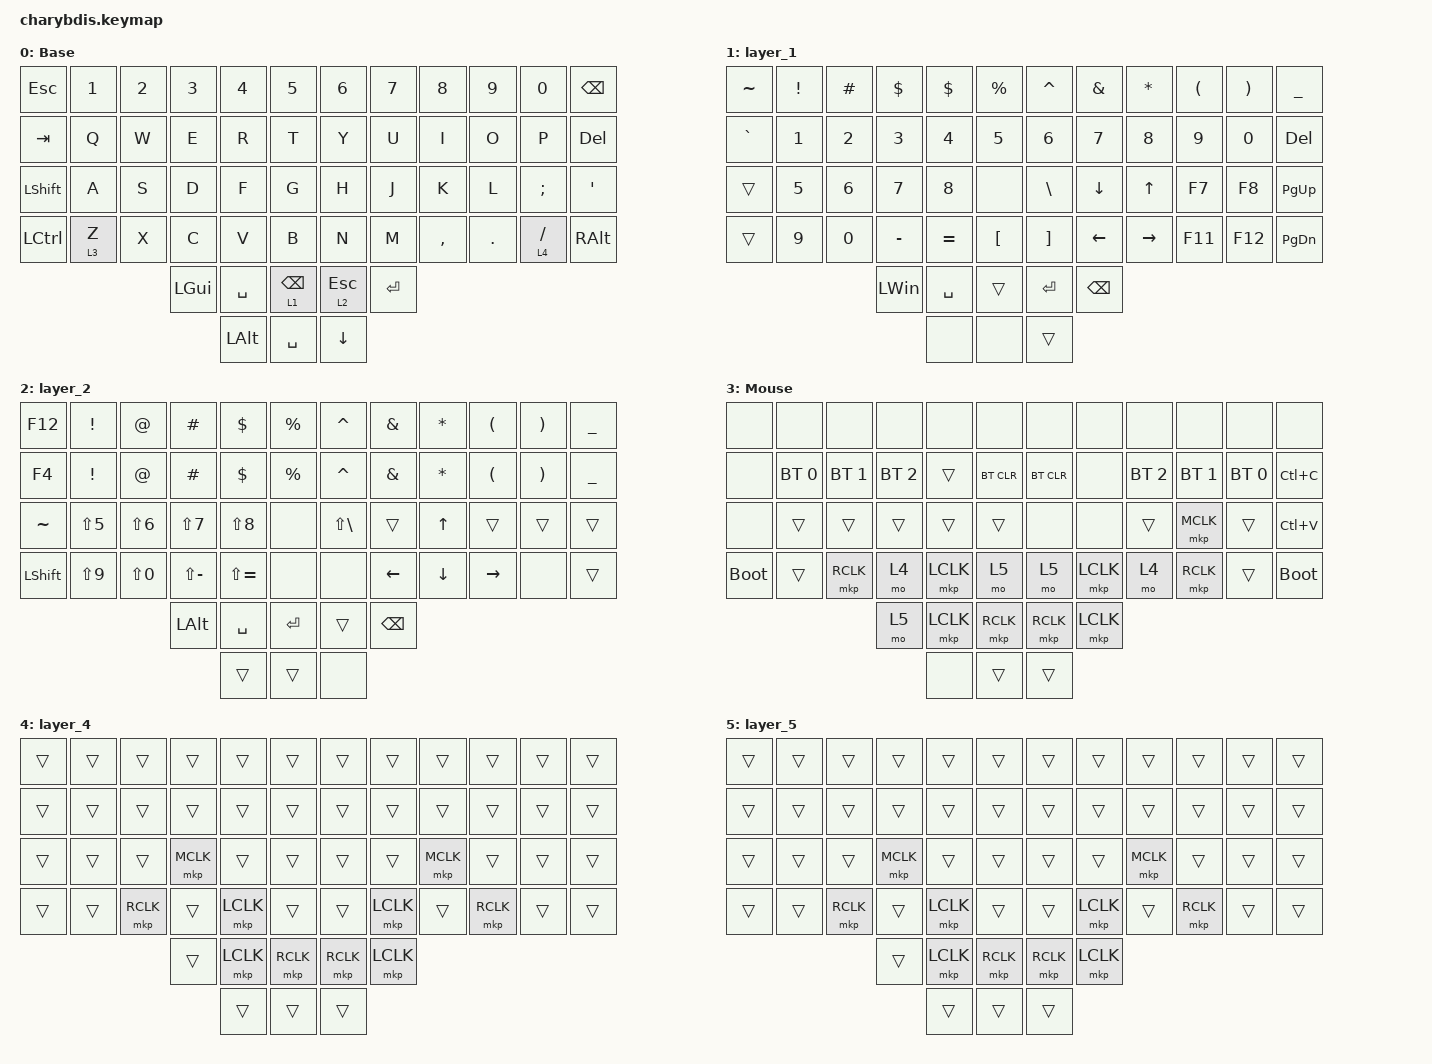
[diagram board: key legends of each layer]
#include <behaviors.dtsi>
#include <dt-bindings/zmk/bt.h>
#include <dt-bindings/zmk/keys.h>
#include <dt-bindings/zmk/mouse.h>


&lt {
    tapping-term-ms = <200>;
    flavor = "balanced";
    quick-tap-ms = <150>;
};

/ {
    combos {
        compatible = "zmk,combos";

        escc {
            bindings = <&kp ESC>;
            key-positions = <17 18>;
            layers = <0>;
        };
    };

    keymap {
        compatible = "zmk,keymap";

        Base {
            bindings = <
&kp ESC         &kp N1   &kp N2  &kp N3          &kp N4        &kp N5            &kp N6          &kp N7           &kp N8     &kp N9   &kp N0       &kp BSPC
&kp TAB         &kp Q    &kp W   &kp E           &kp R         &kp T             &kp Y           &kp U            &kp I      &kp O    &kp P        &kp DEL
&kp LEFT_SHIFT  &kp A    &kp S   &kp D           &kp F         &kp G             &kp H           &kp J            &kp K      &kp L    &kp SEMI     &kp APOS
&kp LCTRL       &lt 3 Z  &kp X   &kp C           &kp V         &kp B             &kp N           &kp M            &kp COMMA  &kp DOT  &lt 4 SLASH  &kp RALT
                                 &kp LGUI        &kp SPACE     &lt 1 BSPC        &lt 2 ESC       &kp RET
                                                 &kp LEFT_ALT  &kp SPACE         &kp DOWN_ARROW
            >;

            trackball-bindings = <&tmv_coarse>;
        };

        layer_1 {
            bindings = <
&kp TILDE         &kp EXCLAMATION  &kp HASH      &kp DOLLAR    &kp DOLLAR    &kp PERCENT    &kp CARET  &kp AMPERSAND  &kp ASTERISK  &kp LEFT_PARENTHESIS  &kp RIGHT_PARENTHESIS  &kp UNDERSCORE
&kp GRAVE         &kp NUMBER_1     &kp NUMBER_2  &kp NUMBER_3  &kp NUMBER_4  &kp NUMBER_5   &kp NUMBER_6   &kp NUMBER_7   &kp NUMBER_8  &kp NUMBER_9      &kp NUMBER_0           &kp DEL
&trans            &kp NUMBER_5     &kp NUMBER_6  &kp NUMBER_7  &kp NUMBER_8  &none          &kp BSLH       &kp DOWN       &kp UP        &kp F7            &kp F8                 &kp PAGE_UP
&trans            &kp NUMBER_9     &kp NUMBER_0  &kp MINUS     &kp EQUAL     &kp LBKT       &kp RBKT       &kp LEFT       &kp RIGHT     &kp F11           &kp F12                &kp PAGE_DOWN
                                                 &kp LEFT_WIN  &kp SPACE     &trans         &kp ENTER      &kp BACKSPACE
                                                               &none         &none          &trans
            >;
        };

        layer_2 {
            bindings = <
&kp F12           &kp EXCLAMATION  &kp AT      &kp HASH       &kp DOLLAR     &kp PERCENT     &kp CARET     &kp AMPERSAND  &kp ASTERISK  &kp LPAR   &kp RPAR  &kp UNDERSCORE
&kp F4            &kp EXCLAMATION  &kp AT      &kp HASH       &kp DOLLAR     &kp PERCENT     &kp CARET     &kp AMPERSAND  &kp ASTERISK  &kp LPAR   &kp RPAR  &kp UNDERSCORE
&kp TILDE         &kp LS(N5)       &kp LS(N6)  &kp LS(N7)     &kp LS(N8)     &none           &kp LS(BSLH)  &trans         &kp UP        &trans     &trans    &trans
&kp LEFT_SHIFT    &kp LS(N9)       &kp LS(N0)  &kp LS(MINUS)  &kp LS(EQUAL)  &none           &none         &kp LEFT       &kp DOWN      &kp RIGHT  &none     &trans
                                               &kp LEFT_ALT   &kp SPACE      &kp ENTER       &trans        &kp BACKSPACE
                                                              &trans         &trans          &none
            >;
        };

        Mouse {
            bindings = <
&none        &none         &none         &none            &none                &none         &none         &none       &none         &none         &none         &none
&none        &bt BT_SEL 0  &bt BT_SEL 1  &bt BT_SEL 2     &trans               &bt BT_CLR    &bt BT_CLR    &none       &bt BT_SEL 2  &bt BT_SEL 1  &bt BT_SEL 0  &kp LC(C)
&none        &trans        &trans        &trans           &trans               &trans        &none         &none       &trans        &mkp MCLK     &trans        &kp LC(V)
&bootloader  &trans        &mkp RCLK     &mo 4            &mkp LCLK            &mo 5         &mo 5         &mkp LCLK   &mo 4         &mkp RCLK     &trans        &bootloader
                                         &mo 5            &mkp LCLK            &mkp RCLK     &mkp RCLK     &mkp LCLK
                                                          &none                &trans        &trans
            >;
        };

        layer_4 {
            bindings = <
&trans  &trans  &trans     &trans     &trans     &trans       &trans     &trans     &trans     &trans     &trans  &trans
&trans  &trans  &trans     &trans     &trans     &trans       &trans     &trans     &trans     &trans     &trans  &trans
&trans  &trans  &trans     &mkp MCLK  &trans     &trans       &trans     &trans     &mkp MCLK  &trans     &trans  &trans
&trans  &trans  &mkp RCLK  &trans     &mkp LCLK  &trans       &trans     &mkp LCLK  &trans     &mkp RCLK  &trans  &trans
                           &trans     &mkp LCLK  &mkp RCLK    &mkp RCLK  &mkp LCLK
                                      &trans     &trans       &trans
            >;

            trackball-bindings = <&tsl>;//滚轮层
        };

        layer_5 {
            bindings = <
&trans  &trans  &trans     &trans     &trans     &trans       &trans     &trans     &trans     &trans     &trans  &trans
&trans  &trans  &trans     &trans     &trans     &trans       &trans     &trans     &trans     &trans     &trans  &trans
&trans  &trans  &trans     &mkp MCLK  &trans     &trans       &trans     &trans     &mkp MCLK  &trans     &trans  &trans
&trans  &trans  &mkp RCLK  &trans     &mkp LCLK  &trans       &trans     &mkp LCLK  &trans     &mkp RCLK  &trans  &trans
                           &trans     &mkp LCLK  &mkp RCLK    &mkp RCLK  &mkp LCLK
                                      &trans     &trans       &trans
            >;

            trackball-bindings = <&tmv_fine>;//精准指针层
        };
    };
};
